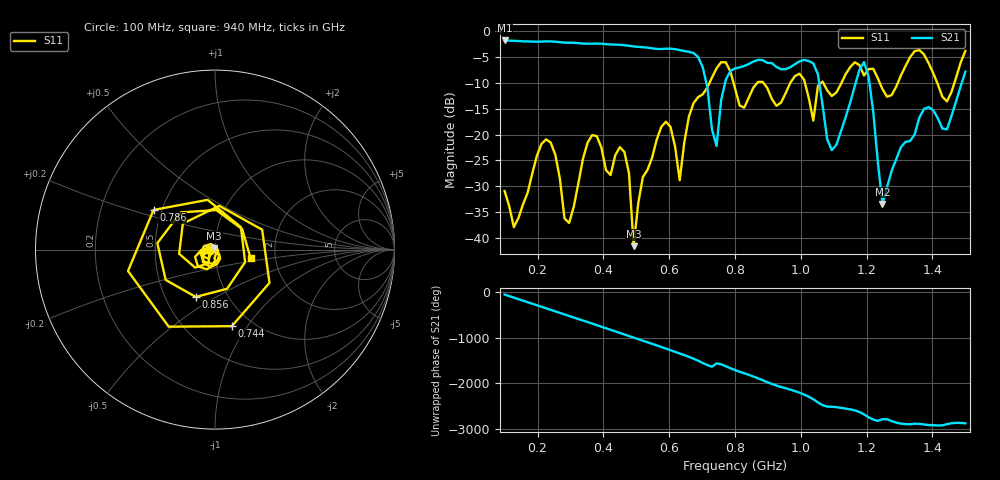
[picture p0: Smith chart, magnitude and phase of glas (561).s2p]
! NanoVNA-App
! Date: 2025-09-25 15:59:50
! Start: 100MHz Stop: 1,5GHz Points: 101
! S-Parameter data: F S11 S21 S12 S22
# Hz S RI R 50
!  Frequency  S11_Real  S11_Imag  S21_Real  S21_Imag  S12_Real  S12_Imag  S22_Real  S22_Imag
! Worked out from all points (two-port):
!   101 points, 100 MHz to 1.5 GHz, reference 50 ohm
!   highest |S21| = -1.80 dB at 100 MHz (marker M1); lowest = -33.4 dB at 1.248 GHz (marker M2)
!   |S21| within 3 dB of the highest: start of sweep to 684.4 MHz
!   lowest |S11| = -41.6 dB at 492 MHz (marker M3), VSWR 1.02, Z = 49.5 + j0.662 ohm
!   |S11| at or under -10 dB: start of sweep to 722.5 MHz; 795.5 MHz to 867.8 MHz (72.28 MHz wide, 8.69 % of centre); 886.3 MHz to 968 MHz (81.73 MHz wide, 8.82 % of centre) (the widest 3 of 7)
!   S12 and S22 are empty: the file has one direction only
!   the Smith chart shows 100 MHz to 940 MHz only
!   S11 on the Smith chart (normalised r, x): 100 MHz: 0.95, -0.01; 744 MHz: 0.81, -0.85; 786 MHz: 0.45, +0.24; 856 MHz: 0.71, -0.41; 940 MHz: 1.49, -0.15
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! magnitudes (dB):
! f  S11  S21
! 100 MHz  -30.9  -1.8
! 128 MHz  -37.9  -1.9
! 226 MHz  -20.9  -2.0
! 296 MHz  -37.1  -2.2
! 338 MHz  -24.7  -2.4
! 464 MHz  -23.4  -2.7
! 492 MHz  -41.6  -2.9
! 576 MHz  -18.5  -3.5
! 632 MHz  -28.8  -3.7
! 702 MHz  -12.2  -7.0
! 744 MHz  -7.2  -22.2
! 786 MHz  -7.8  -7.7
! 800 MHz  -11.1  -7.2
! 856 MHz  -10.9  -5.9
! 940 MHz  -13.8  -7.4
! 1.038 GHz  -17.3  -6.2
! 1.094 GHz  -12.6  -23.0
! 1.192 GHz  -8.6  -6.0
! 1.248 GHz  -11.2  -33.4
! 1.276 GHz  -12.4  -27.0
! 1.444 GHz  -13.6  -19.0
! 1.5 GHz  -3.8  -7.8
